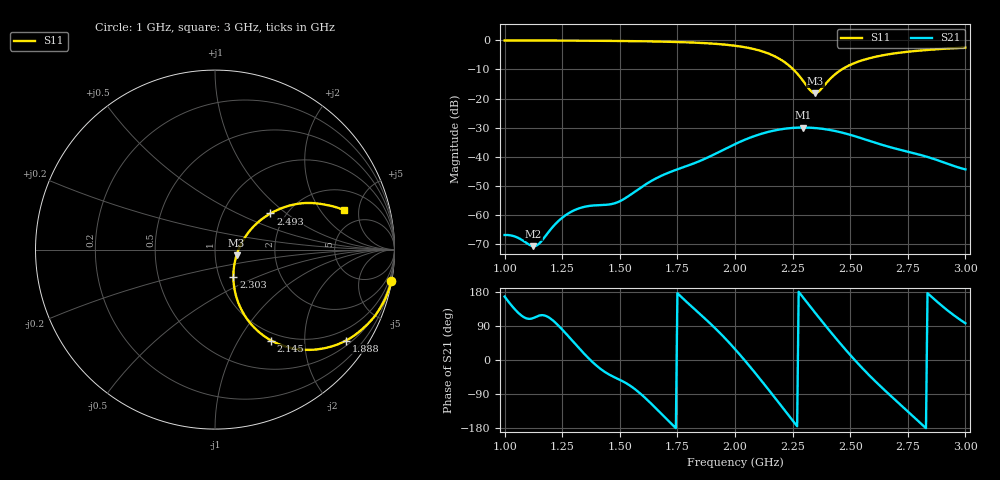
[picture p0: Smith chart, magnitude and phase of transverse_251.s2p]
! TOUCHSTONE file generated by CST MICROWAVE STUDIO
! Date and time: Tue Mar 11 13:58:02 2025
! Project name: transverse.cst
! Parameters = {Fracture=1; B=10; D=160; F=25; Feed=2.85625; L=100; M=30; R=0.384908; S=2; Theta=270; length=57.125; wave=114.25}
! Header version: 2024
! Port assignment regex: !\s*Touchstone port\s*([0-9]+)\s*=\s*(CST MWS port|CST DES external port|CST DES block port)\s*(.+)\s* \(\"(.*)\"\)(\s*mode\s*([0-9]+))?.*
! Touchstone port assignment:
! Touchstone port 1 = CST MWS port 1 ("")
! Touchstone port 2 = CST MWS port 2 ("")
# GHz S MA R 50
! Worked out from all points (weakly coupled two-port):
!   305 points, 1 GHz to 3 GHz, reference 50 ohm
!   highest |S21| = -29.94 dB at 2.296 GHz (marker M1); lowest = -70.7 dB at 1.125 GHz (marker M2)
!   lowest |S11| = -18.1 dB at 2.349 GHz (marker M3), VSWR 1.28, Z = 63.5 - j4.06 ohm
!   |S11| at or under -10 dB: 2.253 GHz to 2.463 GHz (209.9 MHz wide, 8.9 % of centre)
!   S12 and S22 are empty: the file has one direction only
!   S11 on the Smith chart (normalised r, x): 1 GHz: 0, -11; 1.888 GHz: 0.64, -3.08; 2.145 GHz: 0.89, -1.39; 2.303 GHz: 1.16, -0.37; 2.493 GHz: 1.67, +0.78; 3 GHz: 3.44, +3.46
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1  0.9976 -10.0  0.0004533 167.3  0 0.0  0 0.0
1.04605  0.9972 -10.6  0.0004252 132.7  0 0.0  0 0.0
1.125  0.9961 -11.8  0.0002913 110.9  0 0.0  0 0.0
1.15132  0.9954 -12.2  0.0003267 117.5  0 0.0  0 0.0
1.25  0.992 -13.9  0.0008972 80.5  0 0.0  0 0.0
1.33553  0.9888 -15.5  0.001348 23.0  0 0.0  0 0.0
1.48684  0.9782 -18.9  0.001636 -48.5  0 0.0  0 0.0
1.67105  0.9549 -24.5  0.004535 -136.2  0 0.0  0 0.0
1.88816  0.8887 -34.8  0.01001 98.8  0 0.0  0 0.0
2  0.8092 -43.1  0.01653 28.7  0 0.0  0 0.0
2.14474  0.5955 -58.3  0.02681 -77.6  0 0.0  0 0.0
2.23026  0.3813 -66.1  0.03084 -144.1  0 0.0  0 0.0
2.29605  0.2004 -59.1  0.03184 164.6  0 0.0  0 0.0
2.30263  0.1846 -56.3  0.03183 159.5  0 0.0  0 0.0
2.33553  0.1289 -30.2  0.03147 134.1  0 0.0  0 0.0
2.34868  0.1241 -14.7  0.03119 124.0  0 0.0  0 0.0
2.36842  0.1385 6.3  0.03063 108.9  0 0.0  0 0.0
2.43421  0.2608 31.5  0.02776 59.9  0 0.0  0 0.0
2.49342  0.3687 33.1  0.02428 17.8  0 0.0  0 0.0
2.57237  0.4805 30.6  0.01943 -34.0  0 0.0  0 0.0
2.67105  0.5815 26.6  0.01472 -91.8  0 0.0  0 0.0
3  0.7524 16.9  0.006081 96.9  0 0.0  0 0.0
